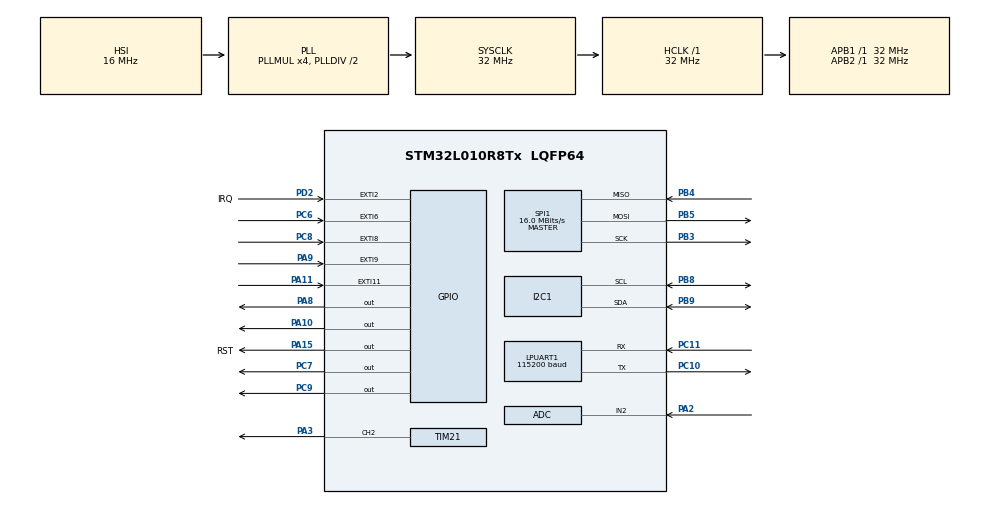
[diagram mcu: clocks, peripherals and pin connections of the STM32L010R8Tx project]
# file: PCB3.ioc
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I2C1.Timing=0x00707CBB
LPUART1.BaudRate=115200
LPUART1.WordLength=UART_WORDLENGTH_8B
Mcu.Family=STM32L0
Mcu.Name=STM32L010R8Tx
Mcu.Package=LQFP64
NVIC.EXTI2_3_IRQn=true\:0\:0\:false\:false\:true\:true\:true
NVIC.EXTI4_15_IRQn=true\:0\:0\:false\:false\:true\:true\:true
PA10.GPIO_ModeDefaultOutputPP=GPIO_MODE_OUTPUT_OD
PA10.Signal=GPIO_Output
PA11.GPIO_ModeDefaultEXTI=GPIO_MODE_IT_RISING_FALLING
PA11.GPIO_PuPd=GPIO_PULLDOWN
PA11.Signal=GPXTI11
PA13.Mode=Serial_Wire
PA13.Signal=SYS_SWDIO
PA14.Mode=Serial_Wire
PA14.Signal=SYS_SWCLK
PA15.GPIO_Label=RST
PA15.Signal=GPIO_Output
PA2.Mode=IN2
PA2.Signal=ADC_IN2
PA3.Signal=S_TIM21_CH2
PA8.GPIO_ModeDefaultOutputPP=GPIO_MODE_OUTPUT_OD
PA8.Signal=GPIO_Output
PA9.GPIO_ModeDefaultEXTI=GPIO_MODE_IT_RISING_FALLING
PA9.GPIO_PuPd=GPIO_PULLDOWN
PA9.Signal=GPXTI9
PB3.Mode=Full_Duplex_Master
PB3.Signal=SPI1_SCK
PB4.Mode=Full_Duplex_Master
PB4.Signal=SPI1_MISO
PB5.Mode=Full_Duplex_Master
PB5.Signal=SPI1_MOSI
PB8.Mode=I2C
PB8.Signal=I2C1_SCL
PB9.Mode=I2C
PB9.Signal=I2C1_SDA
PC10.Mode=Asynchronous
PC10.Signal=LPUART1_TX
PC11.Mode=Asynchronous
PC11.Signal=LPUART1_RX
PC6.GPIO_ModeDefaultEXTI=GPIO_MODE_IT_RISING_FALLING
PC6.GPIO_PuPd=GPIO_PULLDOWN
PC6.Signal=GPXTI6
PC7.GPIO_ModeDefaultOutputPP=GPIO_MODE_OUTPUT_OD
PC7.Signal=GPIO_Output
PC8.GPIO_ModeDefaultEXTI=GPIO_MODE_IT_RISING_FALLING
PC8.GPIO_PuPd=GPIO_PULLDOWN
PC8.Signal=GPXTI8
PC9.GPIO_ModeDefaultOutputPP=GPIO_MODE_OUTPUT_OD
PC9.Signal=GPIO_Output
PD2.GPIO_Label=IRQ
PD2.Signal=GPXTI2
ProjectManager.HeapSize=0x200
ProjectManager.StackSize=0x400
ProjectManager.TargetToolchain=STM32CubeIDE
RCC.AHBFreq_Value=32000000
RCC.APB1Freq_Value=32000000
RCC.APB1TimFreq_Value=32000000
RCC.APB2Freq_Value=32000000
RCC.APB2TimFreq_Value=32000000
RCC.HCLKFreq_Value=32000000
RCC.HSE_VALUE=8000000
RCC.HSI16_VALUE=16000000
RCC.HSI_VALUE=16000000
RCC.LSE_VALUE=32768
RCC.MSI_VALUE=2097000
RCC.PLLMUL=RCC_PLLMUL_4
RCC.SYSCLKFreq_VALUE=32000000
RCC.SYSCLKSource=RCC_SYSCLKSOURCE_PLLCLK
RCC.VCOOutputFreq_Value=64000000
SH.S_TIM21_CH2.0=TIM21_CH2,PWM Generation2 CH2
SPI1.CalculateBaudRate=16.0 MBits/s
SPI1.Direction=SPI_DIRECTION_2LINES
SPI1.Mode=SPI_MODE_MASTER
SPI1.VirtualType=VM_MASTER
TIM21.Channel-PWM\ Generation1\ No\ Output=TIM_CHANNEL_1
TIM21.Channel-PWM\ Generation2\ CH2=TIM_CHANNEL_2
TIM21.Period=9999
TIM21.Prescaler=31
VP_TIM21_VS_ClockSourceINT.Mode=Internal
VP_TIM21_VS_no_output1.Mode=PWM Generation1 No Output
board=custom

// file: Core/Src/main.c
/* USER CODE BEGIN Header */
/**
  ******************************************************************************
  * @file           : main.c
  * @brief          : Main program body
  ******************************************************************************
  * @attention
  *
  * <h2><center>&copy; Copyright (c) 2025 STMicroelectronics.
  * All rights reserved.</center></h2>
  *
  * This software component is licensed by ST under BSD 3-Clause license,
  * the "License"; You may not use this file except in compliance with the
  * License. You may obtain a copy of the License at:
  *                        opensource.org/licenses/BSD-3-Clause
  *
  ******************************************************************************
  */
/* USER CODE END Header */
#include "main.h"
#include "adc.h"
#include "i2c.h"
#include "usart.h"
#include "spi.h"
#include "tim.h"
#include "gpio.h"

/* USER CODE BEGIN Includes */
#include <stdio.h>
/* USER CODE END Includes */

/* USER CODE BEGIN PM */

#define PUTCHAR_PROTOTYPE int __io_putchar(int ch)

PUTCHAR_PROTOTYPE
{
  HAL_UART_Transmit(&hlpuart1, (uint8_t *)&ch, 1, 0xFFFF);
  return ch;
}

/* USER CODE END PM */

/* USER CODE BEGIN PV */

uint8_t  telemetre;
uint8_t telemetre_state;
// FLAG DE FINISH
#define FLAG_CONFIG 0b1011
uint8_t flag_tele = FLAG_CONFIG;
uint8_t flag_cmp[4] = {0xff, 0xff, 0xff, 0xff};

//STOCKAGE DELAY
int delay_tele[4] = {0, 0, 0, 0};

uint8_t FLAG = 0;
uint8_t FLAG_OLD = 0;
uint8_t ANGLE = 0;
uint8_t ANGLE_OLD = 0;

/* USER CODE END PV */

void SystemClock_Config(void);

/* USER CODE BEGIN 0 */

	/**********************************Servo moteur *************************************/

	void rotate(TIM_HandleTypeDef* tim, int channel, int angle){
	__HAL_TIM_SET_COMPARE(tim, channel, 10*angle+1500);
	}

	void ballayage(TIM_HandleTypeDef* tim, int channel, int min, int max, int inc){
	static int current_value = 0;
	static int direction = 1;

	static int measure_angle = 0;
	static int measure_val = 0;

	for(int k=0;k<12800*8*2 ;k++); //48ms * 2

	HAL_ADC_Start(&hadc);
	HAL_ADC_PollForConversion(&hadc, 1000);
	int val = HAL_ADC_GetValue(&hadc);
	if(val >= measure_val){
		 measure_val = val;
		 measure_angle = current_value;
	 }

	current_value += direction * inc;

	if (current_value > max-inc || current_value < min+inc) {
		direction *= -1;
		//printf("%d\r\n", measure_angle);
		ANGLE = measure_angle;
		measure_val = 0;
	}

	//printf("%d\n\r", current_value);
	 //printf("%d : %d | ",current_value, val);
	 // printf("%d | %d\r\n", val, current_value);

	 rotate(tim, channel, current_value);
	 display();
	}

	 /**********************************Telemetre *************************************/
	void trig_telemetre(void){
		 HAL_GPIO_WritePin(GPIOA, GPIO_PIN_10|GPIO_PIN_8, GPIO_PIN_SET);
		 HAL_GPIO_WritePin(GPIOC, GPIO_PIN_9|GPIO_PIN_7, GPIO_PIN_SET);
		 for(int k=0;k<64;k++); //10us (mesurer 25us)
		 HAL_GPIO_WritePin(GPIOA, GPIO_PIN_10|GPIO_PIN_8, GPIO_PIN_RESET);
		 HAL_GPIO_WritePin(GPIOC, GPIO_PIN_9|GPIO_PIN_7, GPIO_PIN_RESET);
	}

	/********************************** Communication *************************************/
	void display(void){
		int verif_cmp = 1;
		for (int i=0; i<4; i++){
			if (flag_cmp[i]<2){
				verif_cmp = 0;
			}
		}
		if ((FLAG != FLAG_OLD) && (verif_cmp == 1)){
			FLAG_OLD = FLAG;
			//printf("!%c\n", FLAG_OLD);
			uint8_t ms[2] = {'!', FLAG_OLD};
			HAL_UART_Transmit(&hlpuart1, &ms, 2, 0xFFFF);
			//printf((uint8_t)FLAG_OLD);
			//printf("\r\n");
		}
		if ((ANGLE < ANGLE_OLD-10) || (ANGLE >  ANGLE_OLD+10)){
		//if (ANGLE != ANGLE_OLD){
			ANGLE_OLD = ANGLE;
			//printf("A%c\n", ANGLE_OLD);
			uint8_t ms[2] = {'A', ANGLE_OLD};
			HAL_UART_Transmit(&hlpuart1, &ms, 2, 0xFFFF);
			//printf((uint8_t)ANGLE_OLD);
			//printf("\r\n");
		}
	}

/* USER CODE END 0 */

int main(void)
{

  /* MCU Configuration--------------------------------------------------------*/

  /* Reset of all peripherals, Initializes the Flash interface and the Systick. */
  HAL_Init();

  /* Configure the system clock */
  SystemClock_Config();

  /* Initialize all configured peripherals */
  MX_GPIO_Init();
  MX_I2C1_Init();
  MX_LPUART1_UART_Init();
  MX_SPI1_Init();
  MX_TIM21_Init();
  MX_ADC_Init();
  /* USER CODE BEGIN 2 */

  HAL_TIM_PWM_Start(&htim21, TIM_CHANNEL_2);

  /* USER CODE END 2 */

  /* Infinite loop */
  /* USER CODE BEGIN WHILE */
  while (1)
  {

	  ballayage(&htim21, TIM_CHANNEL_2, -70, 70, 10);
	  //printf("%ld\r\n", HAL_GetTick());

	  if (flag_tele == FLAG_CONFIG){
		 trig_telemetre();

		  //printf("%d\r\n", delay_tele[0]);
		  flag_tele = 0;
	  }
	  //display();
	  //HAL_Delay(400);

    /* USER CODE END WHILE */

  }
}

void SystemClock_Config(void)
{
  RCC_OscInitTypeDef RCC_OscInitStruct = {0};
  RCC_ClkInitTypeDef RCC_ClkInitStruct = {0};
  RCC_PeriphCLKInitTypeDef PeriphClkInit = {0};

  /** Configure the main internal regulator output voltage
  */
  __HAL_PWR_VOLTAGESCALING_CONFIG(PWR_REGULATOR_VOLTAGE_SCALE1);
  /** Initializes the RCC Oscillators according to the specified parameters
  * in the RCC_OscInitTypeDef structure.
  */
  RCC_OscInitStruct.OscillatorType = RCC_OSCILLATORTYPE_HSI;
  RCC_OscInitStruct.HSIState = RCC_HSI_ON;
  RCC_OscInitStruct.HSICalibrationValue = RCC_HSICALIBRATION_DEFAULT;
  RCC_OscInitStruct.PLL.PLLState = RCC_PLL_ON;
  RCC_OscInitStruct.PLL.PLLSource = RCC_PLLSOURCE_HSI;
  RCC_OscInitStruct.PLL.PLLMUL = RCC_PLLMUL_4;
  RCC_OscInitStruct.PLL.PLLDIV = RCC_PLLDIV_2;
  if (HAL_RCC_OscConfig(&RCC_OscInitStruct) != HAL_OK)
  {
    Error_Handler();
  }
  /** Initializes the CPU, AHB and APB buses clocks
  */
  RCC_ClkInitStruct.ClockType = RCC_CLOCKTYPE_HCLK|RCC_CLOCKTYPE_SYSCLK
                              |RCC_CLOCKTYPE_PCLK1|RCC_CLOCKTYPE_PCLK2;
  RCC_ClkInitStruct.SYSCLKSource = RCC_SYSCLKSOURCE_PLLCLK;
  RCC_ClkInitStruct.AHBCLKDivider = RCC_SYSCLK_DIV1;
  RCC_ClkInitStruct.APB1CLKDivider = RCC_HCLK_DIV1;
  RCC_ClkInitStruct.APB2CLKDivider = RCC_HCLK_DIV1;

  if (HAL_RCC_ClockConfig(&RCC_ClkInitStruct, FLASH_LATENCY_1) != HAL_OK)
  {
    Error_Handler();
  }
  PeriphClkInit.PeriphClockSelection = RCC_PERIPHCLK_LPUART1|RCC_PERIPHCLK_I2C1;
  PeriphClkInit.Lpuart1ClockSelection = RCC_LPUART1CLKSOURCE_PCLK1;
  PeriphClkInit.I2c1ClockSelection = RCC_I2C1CLKSOURCE_PCLK1;
  if (HAL_RCCEx_PeriphCLKConfig(&PeriphClkInit) != HAL_OK)
  {
    Error_Handler();
  }
}

/* USER CODE BEGIN 4 */

void HAL_GPIO_EXTI_Callback(uint16_t GPIO_Pin)
{
	//test just pin a voir si on doit test la bank aussi
	switch (GPIO_Pin)
	{
	case GPIO_PIN_11:
		telemetre = 0;
		telemetre_state = HAL_GPIO_ReadPin(GPIOA, GPIO_PIN_11);
		break;
	case GPIO_PIN_9:
		telemetre = 1;
		telemetre_state = HAL_GPIO_ReadPin(GPIOA, GPIO_PIN_9);
		break;
	case GPIO_PIN_8:
		telemetre = 2;
		telemetre_state = HAL_GPIO_ReadPin(GPIOC, GPIO_PIN_8);
		break;
	case GPIO_PIN_6:
		telemetre = 3;
		telemetre_state = HAL_GPIO_ReadPin(GPIOC, GPIO_PIN_6);
		break;
	default:
		break;
	}

	//printf("telemetre : %d, state :%d\r\n", telemetre, telemetre_state);

	if (telemetre_state == 1)
	{
		delay_tele[telemetre] = HAL_GetTick();
		//printf("telemetre : %d, %d\r\n", telemetre, flag_tele);
	}
	else{
		delay_tele[telemetre] = HAL_GetTick() - delay_tele[telemetre];
		if (delay_tele[telemetre] <= 2){
			if (FLAG & (1<<telemetre)){
				flag_cmp[telemetre]++;
			}else{
				flag_cmp[telemetre] = 0;
			}
			FLAG |= (1<<telemetre);
			//printf("ATTENTION : %u\r\n", FLAG);
		}else{
			if (FLAG & (1<<telemetre)){
				flag_cmp[telemetre] = 0;
			}else{
				flag_cmp[telemetre]++;
			}
			FLAG &= ~(1<<telemetre);
			//printf("ATTENTION : %u\r\n", FLAG);
		}
		flag_tele |= (1<<telemetre);
		display();
	}
    /*if (GPIO_Pin == GPIO_PIN_0) {
        // Code à exécuter lorsque l'interruption est déclenchée sur PA0 ou PB0
        printf("Interruption externe détectée sur PA0 ou PB0!\n");
    }*/
}

/* USER CODE END 4 */

void Error_Handler(void)
{
  __disable_irq();
  while (1)
  {
  }
}

/************************ (C) COPYRIGHT STMicroelectronics *****END OF FILE****/
